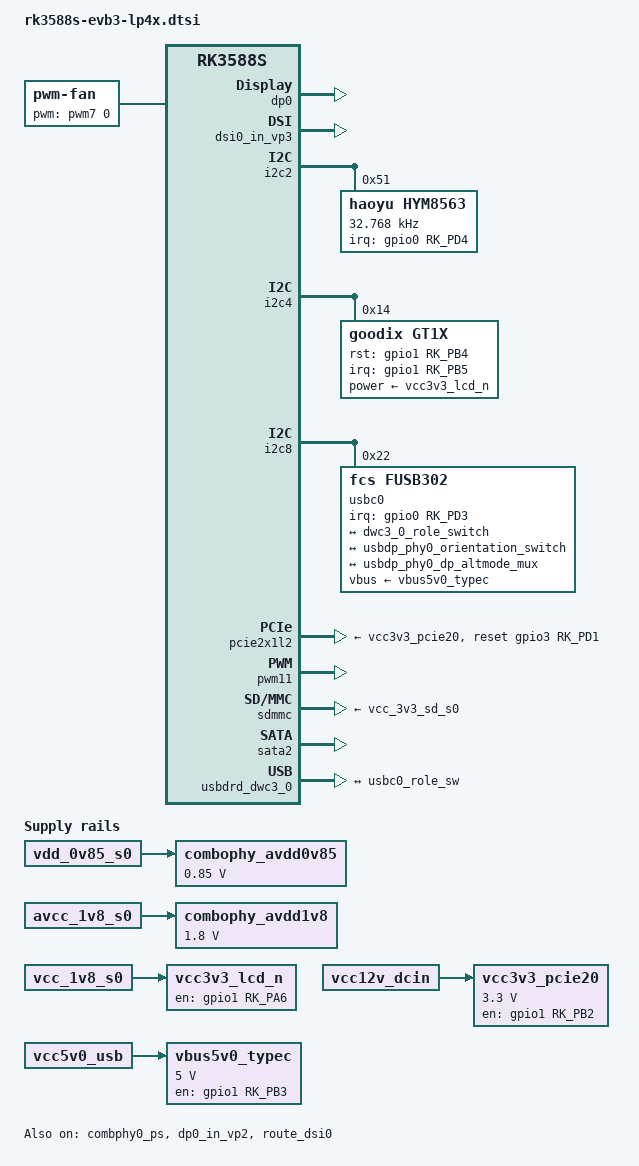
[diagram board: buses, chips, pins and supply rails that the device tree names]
// SPDX-License-Identifier: (GPL-2.0+ OR MIT)
/*
 * Copyright (c) 2021 Rockchip Electronics Co., Ltd.
 *
 */

#include "dt-bindings/usb/pd.h"
#include "rk3588s.dtsi"
#include "rk3588s-evb.dtsi"
#include "rk3588s-rk806-dual.dtsi"

/ {
	combophy_avdd0v85: combophy-avdd0v85 {
		compatible = "regulator-fixed";
		regulator-name = "combophy_avdd0v85";
		regulator-boot-on;
		regulator-always-on;
		regulator-min-microvolt = <850000>;
		regulator-max-microvolt = <850000>;
		vin-supply = <&vdd_0v85_s0>;
	};

	combophy_avdd1v8: combophy-avdd1v8 {
		compatible = "regulator-fixed";
		regulator-name = "combophy_avdd1v8";
		regulator-boot-on;
		regulator-always-on;
		regulator-min-microvolt = <1800000>;
		regulator-max-microvolt = <1800000>;
		vin-supply = <&avcc_1v8_s0>;
	};

	fan: pwm-fan {
		compatible = "pwm-fan";
		#cooling-cells = <2>;
		pwms = <&pwm7 0 50000 0>;
	};

	vcc3v3_lcd_n: vcc3v3-lcd0-n {
		compatible = "regulator-fixed";
		regulator-name = "vcc3v3_lcd0_n";
		regulator-boot-on;
		enable-active-high;
		gpio = <&gpio1 RK_PA6 GPIO_ACTIVE_HIGH>;
		vin-supply = <&vcc_1v8_s0>;
	};

	vcc3v3_pcie20: vcc3v3-pcie20 {
		compatible = "regulator-fixed";
		regulator-name = "vcc3v3_pcie20";
		regulator-min-microvolt = <3300000>;
		regulator-max-microvolt = <3300000>;
		enable-active-high;
		gpios = <&gpio1 RK_PB2 GPIO_ACTIVE_HIGH>;
		startup-delay-us = <5000>;
		vin-supply = <&vcc12v_dcin>;
	};

	vbus5v0_typec: vbus5v0-typec {
		compatible = "regulator-fixed";
		regulator-name = "vbus5v0_typec";
		regulator-min-microvolt = <5000000>;
		regulator-max-microvolt = <5000000>;
		enable-active-high;
		gpio = <&gpio1 RK_PB3 GPIO_ACTIVE_HIGH>;
		vin-supply = <&vcc5v0_usb>;
		pinctrl-names = "default";
		pinctrl-0 = <&typec5v_pwren>;
	};
};

&combphy0_ps {
	status = "okay";
};

&dp0 {
	status = "okay";
};

&dp0_in_vp2 {
	status = "okay";
};

/*
 * mipi_dcphy0 needs to be enabled
 * when dsi0 is enabled
 */
&dsi0 {
	status = "disabled";
};

&dsi0_in_vp2 {
	status = "disabled";
};

&dsi0_in_vp3 {
	status = "okay";
};

/*
 * mipi_dcphy1 needs to be enabled
 * when dsi1 is enabled
 */
&dsi1 {
	status = "disabled";
};

&dsi1_in_vp2 {
	status = "disabled";
};

&dsi1_in_vp3 {
	status = "disabled";
};

&i2c2 {
	status = "okay";

	hym8563: hym8563@51 {
		compatible = "haoyu,hym8563";
		reg = <0x51>;
		#clock-cells = <0>;
		clock-frequency = <32768>;
		clock-output-names = "hym8563";
		pinctrl-names = "default";
		pinctrl-0 = <&hym8563_int>;
		interrupt-parent = <&gpio0>;
		interrupts = <RK_PD4 IRQ_TYPE_LEVEL_LOW>;
		wakeup-source;
	};
};

&i2c4 {
	status = "okay";
	pinctrl-names = "default";
	pinctrl-0 = <&i2c4m3_xfer>;

	gt1x: gt1x@14 {
		compatible = "goodix,gt1x";
		reg = <0x14>;
		pinctrl-names = "default";
		pinctrl-0 = <&touch_gpio>;
		goodix,rst-gpio = <&gpio1 RK_PB4 GPIO_ACTIVE_HIGH>;
		goodix,irq-gpio = <&gpio1 RK_PB5 IRQ_TYPE_LEVEL_LOW>;
		power-supply = <&vcc3v3_lcd_n>;
	};
};

&i2c8 {
	status = "okay";
	pinctrl-names = "default";
	pinctrl-0 = <&i2c8m2_xfer>;

	usbc0: fusb302@22 {
		compatible = "fcs,fusb302";
		reg = <0x22>;
		interrupt-parent = <&gpio0>;
		interrupts = <RK_PD3 IRQ_TYPE_LEVEL_LOW>;
		pinctrl-names = "default";
		pinctrl-0 = <&usbc0_int>;
		vbus-supply = <&vbus5v0_typec>;
		status = "okay";

		ports {
			#address-cells = <1>;
			#size-cells = <0>;

			port@0 {
				reg = <0>;
				usbc0_role_sw: endpoint@0 {
					remote-endpoint = <&dwc3_0_role_switch>;
				};
			};
		};

		usb_con: connector {
			compatible = "usb-c-connector";
			label = "USB-C";
			data-role = "dual";
			power-role = "dual";
			try-power-role = "sink";
			op-sink-microwatt = <1000000>;
			sink-pdos =
				<PDO_FIXED(5000, 1000, PDO_FIXED_USB_COMM)>;
			source-pdos =
				<PDO_FIXED(5000, 3000, PDO_FIXED_USB_COMM)>;

			altmodes {
				#address-cells = <1>;
				#size-cells = <0>;

				altmode@0 {
					reg = <0>;
					svid = <0xff01>;
					vdo = <0xffffffff>;
				};
			};

			ports {
				#address-cells = <1>;
				#size-cells = <0>;

				port@0 {
					reg = <0>;
					usbc0_orien_sw: endpoint {
						remote-endpoint = <&usbdp_phy0_orientation_switch>;
					};
				};

				port@1 {
					reg = <1>;
					dp_altmode_mux: endpoint {
						remote-endpoint = <&usbdp_phy0_dp_altmode_mux>;
					};
				};
			};
		};
	};
};

&mipi_dcphy0 {
	status = "disabled";
};

&mipi_dcphy1 {
	status = "disabled";
};

&pcie2x1l2 {
	reset-gpios = <&gpio3 RK_PD1 GPIO_ACTIVE_HIGH>;
	vpcie3v3-supply = <&vcc3v3_pcie20>;
	status = "okay";
};

&pinctrl {
	hym8563 {
		hym8563_int: hym8563-int {
			rockchip,pins = <0 RK_PC4 RK_FUNC_GPIO &pcfg_pull_up>;
		};
	};

	touch {
		touch_gpio: touch-gpio {
			rockchip,pins =
				<1 RK_PB4 RK_FUNC_GPIO &pcfg_pull_up>,
				<1 RK_PB5 RK_FUNC_GPIO &pcfg_pull_none>;
		};
	};

	usb-typec {
		usbc0_int: usbc0-int {
			rockchip,pins = <0 RK_PD3 RK_FUNC_GPIO &pcfg_pull_up>;
		};

		typec5v_pwren: typec5v-pwren {
			rockchip,pins = <1 RK_PB3 RK_FUNC_GPIO &pcfg_pull_none>;
		};
	};
};

&pwm11 {
	status = "okay";
};

&route_dsi0 {
	status = "okay";
	connect = <&vp3_out_dsi0>;
};

&route_dsi1 {
	status = "disabled";
	connect = <&vp3_out_dsi1>;
};

&sdmmc {
	status = "okay";
	vmmc-supply = <&vcc_3v3_sd_s0>;
};

&sata2 {
	status = "okay";
};

&u2phy0_otg {
	rockchip,typec-vbus-det;
};

&u2phy2 {
	status = "disabled";
};

&u2phy3 {
	status = "disabled";
};

&u2phy2_host {
	status = "disabled";
};

&u2phy3_host {
	status = "disabled";
};

&usb_host0_ehci {
	status = "disabled";
};

&usb_host0_ohci {
	status = "disabled";
};

&usb_host1_ehci {
	status = "disabled";
};

&usb_host1_ohci {
	status = "disabled";
};

&usbdp_phy0 {
	orientation-switch;
	svid = <0xff01>;
	sbu1-dc-gpios = <&gpio1 RK_PB6 GPIO_ACTIVE_HIGH>;
	sbu2-dc-gpios = <&gpio1 RK_PB7 GPIO_ACTIVE_HIGH>;

	port {
		#address-cells = <1>;
		#size-cells = <0>;
		usbdp_phy0_orientation_switch: endpoint@0 {
			reg = <0>;
			remote-endpoint = <&usbc0_orien_sw>;
		};

		usbdp_phy0_dp_altmode_mux: endpoint@1 {
			reg = <1>;
			remote-endpoint = <&dp_altmode_mux>;
		};
	};
};

&usbdrd_dwc3_0 {
	usb-role-switch;
	port {
		#address-cells = <1>;
		#size-cells = <0>;
		dwc3_0_role_switch: endpoint@0 {
			reg = <0>;
			remote-endpoint = <&usbc0_role_sw>;
		};
	};
};

&usbhost3_0 {
	status = "disabled";
};

&usbhost_dwc3_0 {
	status = "disabled";
};
